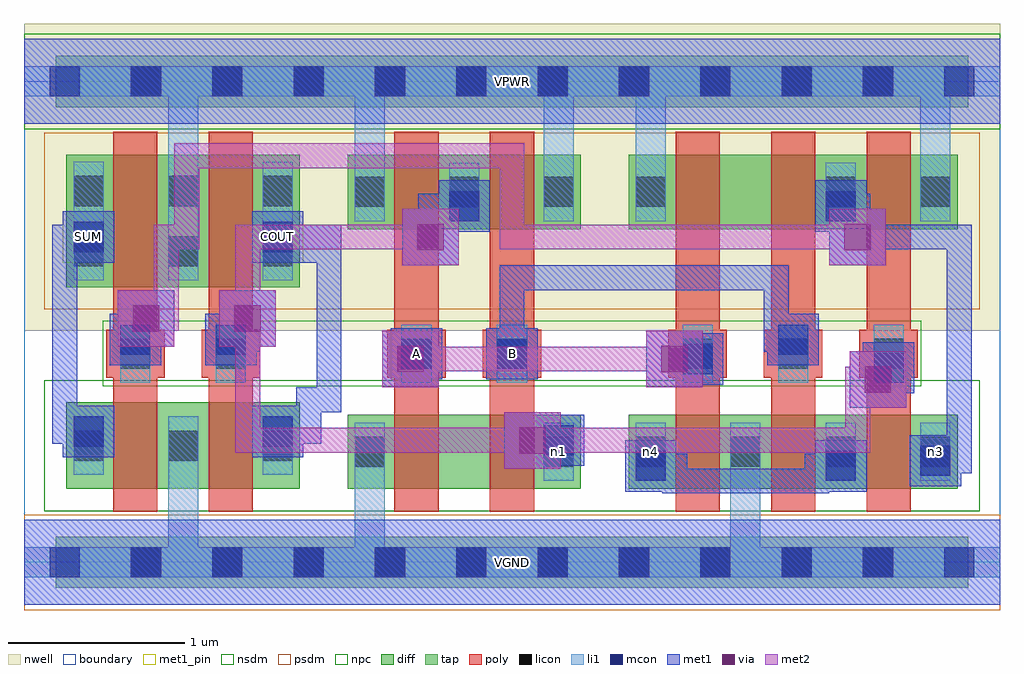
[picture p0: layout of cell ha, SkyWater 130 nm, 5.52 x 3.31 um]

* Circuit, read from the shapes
.subckt ha A B COUT SUM VGND VPWR n1 n3 n4
XM1 VGND n3 SUM VGND sky130_fd_pr__nfet_01v8 w=0.49 l=0.25
XM2 COUT n1 VGND VGND sky130_fd_pr__nfet_01v8 w=0.49 l=0.25
XM3 n2 A VGND VGND sky130_fd_pr__nfet_01v8 w=0.42 l=0.25
XM4 n1 B n2 VGND sky130_fd_pr__nfet_01v8 w=0.42 l=0.25
XM5 VGND A n4 VGND sky130_fd_pr__nfet_01v8 w=0.42 l=0.25
XM6 n4 B VGND VGND sky130_fd_pr__nfet_01v8 w=0.42 l=0.25
XM7 n3 n1 n4 VGND sky130_fd_pr__nfet_01v8 w=0.42 l=0.25
XM8 VPWR n3 SUM VPWR sky130_fd_pr__pfet_01v8 w=0.75 l=0.25
XM9 COUT n1 VPWR VPWR sky130_fd_pr__pfet_01v8 w=0.75 l=0.25
XM10 n1 A VPWR VPWR sky130_fd_pr__pfet_01v8 w=0.42 l=0.25
XM11 VPWR B n1 VPWR sky130_fd_pr__pfet_01v8 w=0.42 l=0.25
XM12 n5 A VPWR VPWR sky130_fd_pr__pfet_01v8 w=0.42 l=0.25
XM13 n3 B n5 VPWR sky130_fd_pr__pfet_01v8 w=0.42 l=0.25
XM14 VPWR n1 n3 VPWR sky130_fd_pr__pfet_01v8 w=0.42 l=0.25
.ends

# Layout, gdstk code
import gdstk
lib = gdstk.Library(unit=1e-6, precision=1e-09)
def R(c, l, rs):  # rectangles x0, y0, x1, y1
    for r in rs: c.add(gdstk.rectangle(r[:2], r[2:], *l))
def A(c, l, x, y, w, h, nx, ny, dx, dy):  # array of equal rectangles
    R(c, l, [(x+i*dx, y+j*dy, x+i*dx+w, y+j*dy+h) for i in range(nx) for j in range(ny)])
nwell = (64, 20)
diff = (65, 20)
tap = (65, 44)
poly = (66, 20)
licon = (66, 44)
li1 = (67, 20)
mcon = (67, 44)
met1_pin = (68, 16)
met1 = (68, 20)
via = (68, 44)
met2 = (69, 20)
nsdm = (93, 44)
psdm = (94, 20)
npc = (95, 20)
boundary = (235, 4)

c_ha = lib.new_cell('ha')
R(c_ha, nwell, [(0,1.31,5.52,3.045)])
R(c_ha, diff, [(0.24,0.415,1.56,0.905), (1.83,0.415,3.15,0.835), (3.42,0.415,5.28,0.835), (0.24,1.555,1.56,2.305), (1.83,1.885,3.15,2.305), (3.42,1.885,5.28,2.305)])
R(c_ha, tap, [(0.18,-0.145,5.34,0.145), (0.18,2.575,5.34,2.865)])
A(c_ha, poly, 3.685, 0.285, 0.25, 2.15, 3, 1, 0.54, 0)
A(c_ha, poly, 3.645, 1.045, 0.33, 0.27, 3, 1, 0.54, 0)
R(c_ha, poly, [(0.505,0.285,0.755,2.435), (1.045,0.285,1.295,2.435), (2.095,0.285,2.345,2.435), (2.635,0.285,2.885,2.435), (0.465,1.045,0.795,1.315), (1.005,1.045,1.335,1.315), (2.055,1.045,2.385,1.315), (2.595,1.045,2.925,1.315)])
A(c_ha, licon, 0.605, -0.085, 0.17, 0.17, 10, 2, 0.46, 2.72)
A(c_ha, licon, 0.28, 0.575, 0.17, 0.17, 3, 2, 0.535, 1.1)
A(c_ha, licon, 3.725, 1.095, 0.17, 0.17, 3, 1, 0.54, 0)
A(c_ha, licon, 1.87, 2.01, 0.17, 0.17, 3, 1, 0.535, 0)
A(c_ha, licon, 0.28, 2.015, 0.17, 0.17, 3, 1, 0.535, 0)
R(c_ha, licon, [(1.87,0.54,2.04,0.71), (2.94,0.54,3.11,0.71), (3.46,0.54,3.63,0.71), (3.995,0.54,4.165,0.71), (4.535,0.54,4.705,0.71), (5.07,0.54,5.24,0.71), (0.545,1.095,0.715,1.265), (1.085,1.095,1.255,1.265), (2.135,1.095,2.305,1.265), (2.675,1.095,2.845,1.265), (3.46,2.01,3.63,2.18), (4.535,2.01,4.705,2.18), (5.07,2.01,5.24,2.18)])
A(c_ha, li1, 0.28, 0.495, 0.17, 0.33, 3, 1, 0.535, 0)
A(c_ha, li1, 3.725, 1.015, 0.17, 0.33, 3, 1, 0.54, 0)
A(c_ha, li1, 0.28, 1.595, 0.17, 0.67, 3, 1, 0.535, 0)
A(c_ha, li1, 1.87, 1.93, 0.17, 0.33, 3, 1, 0.535, 0)
R(c_ha, li1, [(0,-0.085,5.52,0.085), (0.815,-0.085,0.985,0.825), (1.87,-0.085,2.04,0.79), (3.995,-0.085,4.165,0.79), (1.87,0.46,2.04,0.79), (2.94,0.46,3.11,0.79), (3.46,0.46,3.63,0.79), (3.995,0.46,4.165,0.79), (4.535,0.46,4.705,0.79), (5.07,0.46,5.24,0.79), (0.545,1.015,0.715,1.345), (1.085,1.015,1.255,1.345), (2.135,1.015,2.305,1.345), (2.675,1.015,2.845,1.345), (0.815,1.595,0.985,2.805), (1.87,1.93,2.04,2.805), (2.94,1.93,3.11,2.805), (3.46,1.93,3.63,2.26), (3.46,1.93,3.63,2.805), (4.535,1.93,4.705,2.26), (5.07,1.93,5.24,2.26), (5.07,1.93,5.24,2.805), (0,2.635,5.52,2.805)])
A(c_ha, mcon, 0.145, -0.085, 0.17, 0.17, 12, 2, 0.46, 2.72)
R(c_ha, mcon, [(3.46,0.46,3.63,0.63), (4.535,0.46,4.705,0.63), (5.07,0.49,5.24,0.66), (2.94,0.605,3.11,0.775), (0.28,0.655,0.45,0.825), (1.35,0.655,1.52,0.825), (4.805,1.015,4.975,1.185), (3.725,1.065,3.895,1.235), (2.135,1.095,2.305,1.265), (2.675,1.095,2.845,1.265), (0.545,1.175,0.715,1.345), (1.085,1.175,1.255,1.345), (4.265,1.175,4.435,1.345), (0.28,1.755,0.45,1.925), (1.35,1.755,1.52,1.925), (2.405,1.93,2.575,2.1), (4.535,1.93,4.705,2.1)])
R(c_ha, met1_pin, [(0,-0.24,5.52,0.24), (2.075,1.035,2.365,1.325), (2.615,1.035,2.905,1.325), (0.22,1.695,0.51,1.985), (1.29,1.695,1.58,1.985), (0,2.48,5.52,2.96)])
R(c_ha, met1, [(0,-0.24,5.52,0.24), (3.61,0.39,3.75,0.615), (3.61,0.39,4.555,0.53), (4.415,0.39,4.555,0.615), (3.4,0.4,3.69,0.69), (4.475,0.4,4.765,0.69), (5.01,0.43,5.3,0.72), (3.475,0.475,3.75,0.615), (4.415,0.475,4.69,0.615), (5.085,0.505,5.36,0.645), (5.22,0.505,5.36,1.91), (2.715,0.53,3.035,0.85), (2.88,0.545,3.17,0.835), (0.22,0.595,0.51,0.885), (1.29,0.595,1.58,0.885), (2.805,0.62,3.095,0.76), (0.16,0.67,0.435,0.81), (0.16,0.67,0.3,0.99), (1.365,0.67,1.68,0.81), (1.54,0.67,1.68,0.99), (0.16,0.85,0.3,1.91), (1.54,0.85,1.795,0.99), (1.655,0.85,1.795,1.91), (4.67,0.875,4.99,1.195), (4.745,0.955,5.035,1.245), (4.76,0.965,4.9,1.17), (2.025,0.99,2.345,1.31), (3.52,0.99,3.84,1.31), (3.665,1.005,3.955,1.295), (4.76,1.03,4.96,1.17), (2.075,1.035,2.365,1.325), (2.615,1.035,2.905,1.325), (2.115,1.08,2.255,1.22), (2.69,1.08,2.83,1.22), (2.69,1.08,2.83,1.68), (3.61,1.08,3.88,1.22), (0.485,1.115,0.775,1.405), (1.025,1.115,1.315,1.405), (4.205,1.115,4.495,1.405), (0.56,1.19,0.76,1.33), (0.62,1.19,0.76,1.45), (1.1,1.19,1.335,1.33), (1.195,1.19,1.335,1.45), (4.185,1.19,4.42,1.33), (4.185,1.19,4.325,1.45), (0.53,1.22,0.85,1.54), (1.105,1.22,1.425,1.54), (4.185,1.31,4.325,1.68), (2.69,1.54,4.325,1.68), (2.14,1.68,2.46,2), (4.555,1.68,4.875,2), (0.22,1.695,0.51,1.985), (1.29,1.695,1.58,1.985), (1.58,1.695,1.655,1.91), (0.16,1.77,0.435,1.91), (1.365,1.77,1.68,1.91), (1.54,1.77,1.795,1.91), (2.23,1.77,2.37,2.085), (4.645,1.77,4.785,2.085), (4.645,1.77,5.36,1.91), (2.345,1.87,2.635,2.16), (4.475,1.87,4.765,2.16), (2.23,1.945,2.56,2.085), (4.55,1.945,4.785,2.085), (0,2.48,5.52,2.96)])
R(c_ha, via, [(2.8,0.615,2.95,0.765), (4.755,0.96,4.905,1.11), (2.11,1.075,2.26,1.225), (3.605,1.075,3.755,1.225), (0.615,1.305,0.765,1.455), (1.19,1.305,1.34,1.455), (2.225,1.765,2.375,1.915), (4.64,1.765,4.79,1.915)])
R(c_ha, met2, [(2.715,0.53,3.035,0.85), (1.195,0.62,1.335,1.45), (1.195,0.62,2.945,0.76), (2.805,0.62,4.785,0.76), (4.645,0.62,4.785,1.105), (4.67,0.875,4.99,1.195), (4.645,0.965,4.9,1.105), (2.025,0.99,2.345,1.31), (3.52,0.99,3.84,1.31), (2.115,1.08,3.75,1.22), (0.53,1.22,0.85,1.54), (1.105,1.22,1.425,1.54), (0.62,1.31,0.875,1.45), (0.735,1.31,0.875,1.91), (1.195,1.31,1.335,1.91), (2.14,1.68,2.46,2), (4.555,1.68,4.875,2), (0.735,1.77,0.99,1.91), (0.85,1.77,0.99,2.37), (1.195,1.77,2.37,1.91), (2.69,1.77,2.83,2.37), (2.69,1.77,4.785,1.91), (0.85,2.23,2.83,2.37)])
R(c_ha, nsdm, [(0.115,0.29,5.405,1.03), (0,2.45,5.52,2.99)])
R(c_ha, psdm, [(0,-0.27,5.52,0.27), (0.115,1.43,5.405,2.43)])
R(c_ha, npc, [(0.445,0.995,5.075,1.365)])
R(c_ha, boundary, [(0,0,5.52,2.72)])
c_ha.add(gdstk.Label('n1', (3.025,0.625), layer=67, texttype=5))
c_ha.add(gdstk.Label('n4', (3.545,0.625), layer=67, texttype=5))
c_ha.add(gdstk.Label('n3', (5.155,0.625), layer=67, texttype=5))
c_ha.add(gdstk.Label('A', (2.22,1.18), layer=68, texttype=5))
c_ha.add(gdstk.Label('B', (2.76,1.18), layer=68, texttype=5))
c_ha.add(gdstk.Label('SUM', (0.365,1.84), layer=68, texttype=5))
c_ha.add(gdstk.Label('COUT', (1.435,1.84), layer=68, texttype=5))
c_ha.add(gdstk.Label('VPWR', (2.76,2.72), layer=68, texttype=5))
c_ha.add(gdstk.Label('VGND', (2.76,0), layer=68, texttype=5))
c_ha.add(gdstk.Label('A', (2.22,1.18), layer=68, texttype=16))
c_ha.add(gdstk.Label('B', (2.76,1.18), layer=68, texttype=16))
c_ha.add(gdstk.Label('SUM', (0.365,1.84), layer=68, texttype=16))
c_ha.add(gdstk.Label('COUT', (1.435,1.84), layer=68, texttype=16))
c_ha.add(gdstk.Label('VPWR', (2.76,2.72), layer=68, texttype=16))
c_ha.add(gdstk.Label('VGND', (2.76,0), layer=68, texttype=16))

lib.write_gds('ha.gds')
